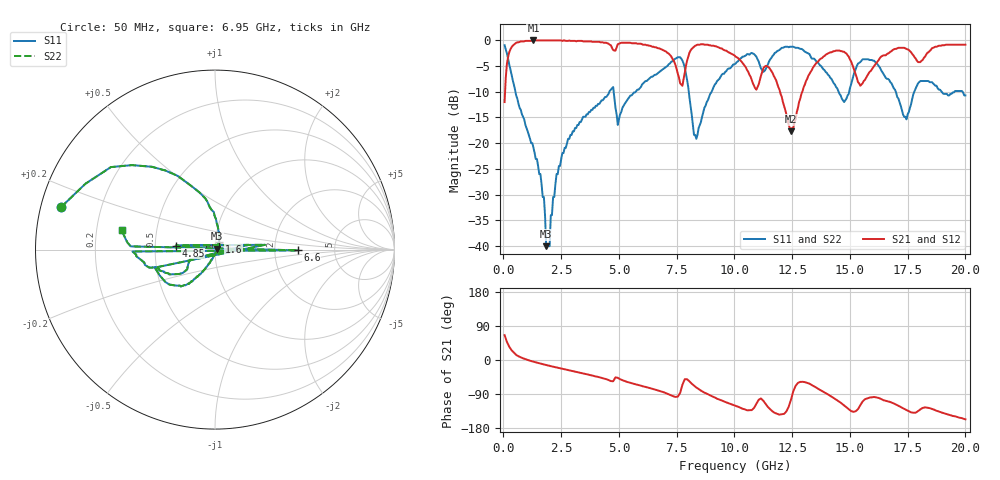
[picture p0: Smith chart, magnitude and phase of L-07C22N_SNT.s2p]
#	mhz	s	ma	r	50
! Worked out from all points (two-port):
!   400 points, 50 MHz to 20 GHz, reference 50 ohm
!   highest |S21| = -0.09 dB at 1.3 GHz (marker M1); lowest = -17.7 dB at 12.45 GHz (marker M2)
!   |S21| within 3 dB of the highest: 213.6 MHz to 7.248 GHz (7.034 GHz wide, 189 % of centre); 8.009 GHz to 10.02 GHz (2.013 GHz wide, 22.3 % of centre) (the widest 2 of 5)
!   lowest |S11| = -40.0 dB at 1.85 GHz (marker M3), VSWR 1.02, Z = 50.9 + j0.465 ohm
!   |S11| at or under -10 dB: 516.5 MHz to 4.591 GHz (4.074 GHz wide, 160 % of centre); 4.773 GHz to 5.731 GHz (958.6 MHz wide, 18.3 % of centre); 8.023 GHz to 9.016 GHz (993.2 MHz wide, 11.7 % of centre) (the widest 3 of 7)
!   |S22| runs from -40.0 to -1.0 dB; largest |S21 - S12| = 0
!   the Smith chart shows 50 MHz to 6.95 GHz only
!   S11 on the Smith chart (normalised r, x): 50 MHz: 0.06, +0.13; 1.6 GHz: 1.04, +0.09; 4.85 GHz: 0.64, +0.03; 6.6 GHz: 2.70, -0.03; 6.95 GHz: 0.31, +0.09
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50  0.89 164.6  0.25 65.7  0.25 65.7  0.89 164.6
450  0.37 109.6  0.9 19.9  0.9 19.9  0.37 109.6
1300  0.09 74.8  0.99 -4.5  0.99 -4.5  0.09 74.8
1600  0.05 62.5  0.99 -9.5  0.99 -9.5  0.05 62.5
1850  0.01 27.2  0.99 -13.3  0.99 -13.3  0.01 27.2
3400  0.17 -122.2  0.98 -34.9  0.98 -34.9  0.17 -122.2
4750  0.35 -163.3  0.8 -56.1  0.8 -56.1  0.35 -163.3
4800  0.28 5.5  0.79 -51.0  0.79 -51.0  0.28 5.5
4850  0.22 174.3  0.79 -45.8  0.79 -45.8  0.22 174.3
6550  0.46 -178.7  0.85 -77.8  0.85 -77.8  0.46 -178.7
6600  0.46 -0.5  0.85 -78.7  0.85 -78.7  0.46 -0.5
6650  0.47 177.8  0.84 -79.6  0.84 -79.6  0.47 177.8
6700  0.48 176.5  0.83 -80.4  0.83 -80.4  0.48 176.5
6950  0.53 168.3  0.79 -85.3  0.79 -85.3  0.53 168.3
7700  0.66 110.2  0.37 -76.0  0.37 -76.0  0.66 110.2
8350  0.11 121.6  0.89 -72.6  0.89 -72.6  0.11 121.6
10050  0.59 137.4  0.69 -121.0  0.69 -121.0  0.59 137.4
12450  0.86 62.5  0.13 -104.4  0.13 -104.4  0.86 62.5
13350  0.66 27.3  0.51 -66.3  0.51 -66.3  0.66 27.3
14950  0.3 31.2  0.69 -129.8  0.69 -129.8  0.3 31.2
16700  0.41 -27.2  0.75 -110.1  0.75 -110.1  0.41 -27.2
20000  0.29 -83.1  0.9 -156.4  0.9 -156.4  0.29 -83.1
